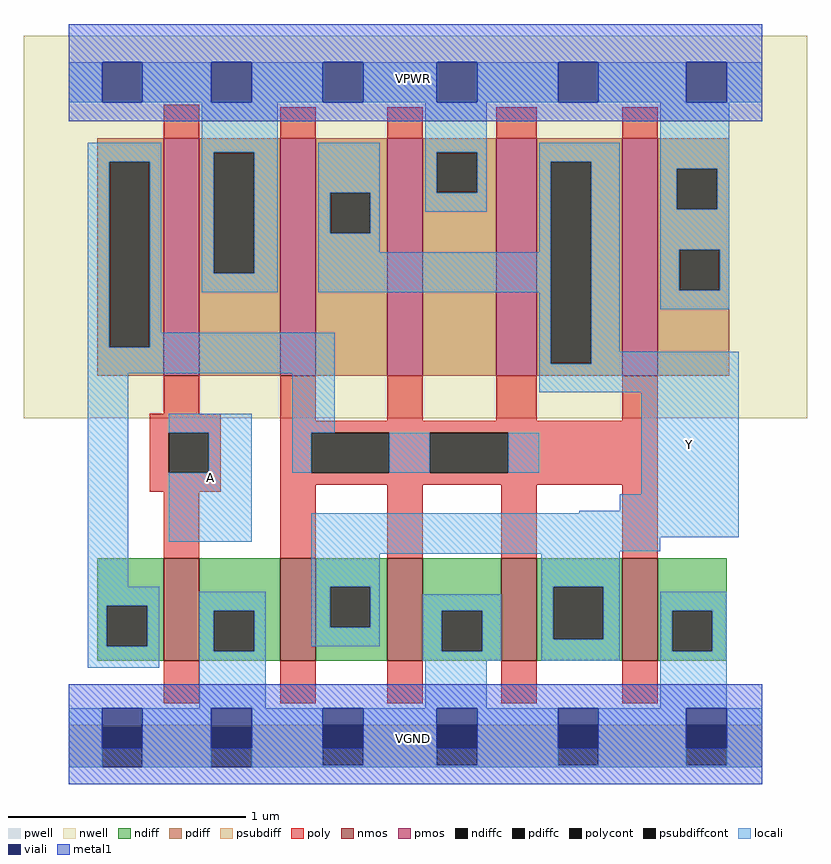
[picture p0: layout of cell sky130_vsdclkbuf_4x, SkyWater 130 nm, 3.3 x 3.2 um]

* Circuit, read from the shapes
.subckt sky130_vsdclkbuf_4x A Y VPWR VPB VGND
XM1 VGND A n1 VGND sky130_fd_pr__nfet_01v8 w=0.43 l=0.15
XM2 Y n1 VGND VGND sky130_fd_pr__nfet_01v8 w=0.43 l=0.15 m=4
XM3 VPWR A n1 VPB sky130_fd_pr__pfet_01v8 w=1 l=0.15
XM4 Y n1 VPWR VPB sky130_fd_pr__pfet_01v8 w=1 l=0.15 m=3
XM5 Y n1 VPWR VPB sky130_fd_pr__pfet_01v8 w=1 l=0.17
.ends

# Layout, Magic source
magic
tech sky130A
<< nwell >>
rect -19 130 311 291
<< pwell >>
rect 14 -9 31 8
<< nmos >>
rect 40 28 55 71
rect 89 28 104 71
rect 134 28 149 71
rect 182 28 197 71
rect 233 28 248 71
<< pmos >>
rect 40 148 55 248
rect 89 148 104 248
rect 134 148 149 248
rect 180 148 197 248
rect 233 148 248 248
<< ndiff >>
rect 12 51 40 71
rect 12 34 16 51
rect 33 34 40 51
rect 12 28 40 34
rect 55 49 89 71
rect 55 32 61 49
rect 78 32 89 49
rect 55 28 89 32
rect 104 59 134 71
rect 104 42 110 59
rect 127 42 134 59
rect 104 28 134 42
rect 149 49 182 71
rect 149 32 157 49
rect 174 32 182 49
rect 149 28 182 32
rect 197 59 233 71
rect 197 37 204 59
rect 225 37 233 59
rect 197 28 233 37
rect 248 49 277 71
rect 248 32 254 49
rect 271 32 277 49
rect 248 28 277 32
<< pdiff >>
rect 12 238 40 248
rect 12 160 17 238
rect 34 160 40 238
rect 12 148 40 160
rect 55 242 89 248
rect 55 191 61 242
rect 78 191 89 242
rect 55 148 89 191
rect 104 225 134 248
rect 104 208 110 225
rect 127 208 134 225
rect 104 148 134 208
rect 149 242 180 248
rect 149 225 155 242
rect 172 225 180 242
rect 149 148 180 225
rect 197 238 233 248
rect 197 153 203 238
rect 220 153 233 238
rect 197 148 233 153
rect 248 235 278 248
rect 248 218 256 235
rect 273 218 278 235
rect 248 201 278 218
rect 248 184 257 201
rect 274 184 278 201
rect 248 148 278 184
<< ndiffc >>
rect 16 34 33 51
rect 61 32 78 49
rect 110 42 127 59
rect 157 32 174 49
rect 204 37 225 59
rect 254 32 271 49
<< pdiffc >>
rect 17 160 34 238
rect 61 191 78 242
rect 110 208 127 225
rect 155 225 172 242
rect 203 153 220 238
rect 256 218 273 235
rect 257 184 274 201
<< psubdiff >>
rect 0 0 107 1
rect 0 -17 14 0
rect 31 -17 60 0
rect 77 -16 107 0
rect 124 -16 155 1
rect 172 -16 206 1
rect 223 -16 260 1
rect 277 -16 292 1
rect 77 -17 292 -16
<< psubdiffcont >>
rect 14 -17 31 0
rect 60 -17 77 0
rect 107 -16 124 1
rect 155 -16 172 1
rect 206 -16 223 1
rect 260 -16 277 1
<< poly >>
rect 40 248 55 262
rect 89 248 104 261
rect 134 248 149 261
rect 180 248 197 261
rect 233 248 248 261
rect 40 132 55 148
rect 34 124 64 132
rect 34 107 42 124
rect 59 107 64 124
rect 34 99 64 107
rect 89 129 104 148
rect 134 129 149 148
rect 180 129 197 148
rect 233 129 248 148
rect 89 124 248 129
rect 89 107 102 124
rect 135 107 152 124
rect 185 107 248 124
rect 89 102 248 107
rect 40 71 55 99
rect 89 71 104 102
rect 134 71 149 102
rect 182 71 197 102
rect 233 71 248 102
rect 40 10 55 28
rect 89 10 104 28
rect 134 10 149 28
rect 182 10 197 28
rect 233 10 248 28
<< polycont >>
rect 42 107 59 124
rect 102 107 135 124
rect 152 107 185 124
<< locali >>
rect 0 263 14 280
rect 31 263 60 280
rect 77 263 107 280
rect 124 263 155 280
rect 172 263 206 280
rect 223 263 260 280
rect 277 263 292 280
rect 8 238 39 246
rect 8 160 17 238
rect 34 166 39 238
rect 56 242 88 263
rect 56 191 61 242
rect 78 191 88 242
rect 56 183 88 191
rect 105 225 131 246
rect 105 208 110 225
rect 127 208 131 225
rect 150 242 176 263
rect 150 225 155 242
rect 172 225 176 242
rect 150 217 176 225
rect 198 238 232 246
rect 105 200 131 208
rect 198 200 203 238
rect 105 183 203 200
rect 34 160 112 166
rect 8 149 112 160
rect 8 59 25 149
rect 42 124 77 132
rect 59 107 77 124
rect 94 124 112 149
rect 198 153 203 183
rect 220 158 232 238
rect 249 235 278 263
rect 249 218 256 235
rect 273 218 278 235
rect 249 201 278 218
rect 249 184 257 201
rect 274 184 278 201
rect 249 176 278 184
rect 220 153 282 158
rect 198 141 282 153
rect 94 107 102 124
rect 135 107 152 124
rect 185 107 198 124
rect 42 78 77 107
rect 241 98 282 141
rect 232 91 282 98
rect 215 90 282 91
rect 102 80 282 90
rect 102 74 249 80
rect 102 73 232 74
rect 102 59 131 73
rect 8 51 38 59
rect 8 34 16 51
rect 33 34 38 51
rect 8 25 38 34
rect 55 49 83 57
rect 55 32 61 49
rect 78 32 83 49
rect 102 42 110 59
rect 127 42 131 59
rect 199 59 232 73
rect 102 34 131 42
rect 149 49 182 56
rect 55 8 83 32
rect 149 32 157 49
rect 174 32 182 49
rect 149 28 182 32
rect 199 37 204 59
rect 225 37 232 59
rect 199 28 232 37
rect 249 49 277 57
rect 249 32 254 49
rect 271 32 277 49
rect 150 8 176 28
rect 249 8 277 32
rect 0 -17 14 8
rect 31 -17 60 8
rect 77 -16 107 8
rect 124 -16 155 8
rect 172 -16 206 8
rect 223 -16 260 8
rect 277 -16 292 8
rect 77 -17 292 -16
<< viali >>
rect 14 263 31 280
rect 60 263 77 280
rect 107 263 124 280
rect 155 263 172 280
rect 206 263 223 280
rect 260 263 277 280
rect 14 0 31 8
rect 14 -9 31 0
rect 60 0 77 8
rect 60 -9 77 0
rect 107 1 124 8
rect 107 -9 124 1
rect 155 1 172 8
rect 155 -9 172 1
rect 206 1 223 8
rect 206 -9 223 1
rect 260 1 277 8
rect 260 -9 277 1
<< metal1 >>
rect 0 280 292 296
rect 0 263 14 280
rect 31 263 60 280
rect 77 263 107 280
rect 124 263 155 280
rect 172 263 206 280
rect 223 263 260 280
rect 277 263 292 280
rect 0 255 292 263
rect 0 8 292 18
rect 0 -9 14 8
rect 31 -9 60 8
rect 77 -9 107 8
rect 124 -9 155 8
rect 172 -9 206 8
rect 223 -9 260 8
rect 277 -9 292 8
rect 0 -24 292 -9
<< labels >>
flabel locali 42 78 77 132 0 FreeSans 120 0 0 0 A
port 1 nsew signal input
flabel locali 241 80 282 158 0 FreeSans 120 0 0 0 Y
port 2 nsew signal output
flabel metal1 3 255 287 291 0 FreeSans 120 0 0 0 VPWR
port 3 nsew power bidirectional
flabel nwell 3 255 287 291 0 FreeSans 120 0 0 0 VPB
port 4 nsew power bidirectional
flabel metal1 1 -18 289 8 0 FreeSans 120 0 0 0 VGND
port 5 nsew ground bidirectional
<< properties >>
string LEFsite unithd
string LEFclass CORE
string FIXED_BBOX 0 0 292 272
string LEFsymmetry X Y R90
<< end >>
